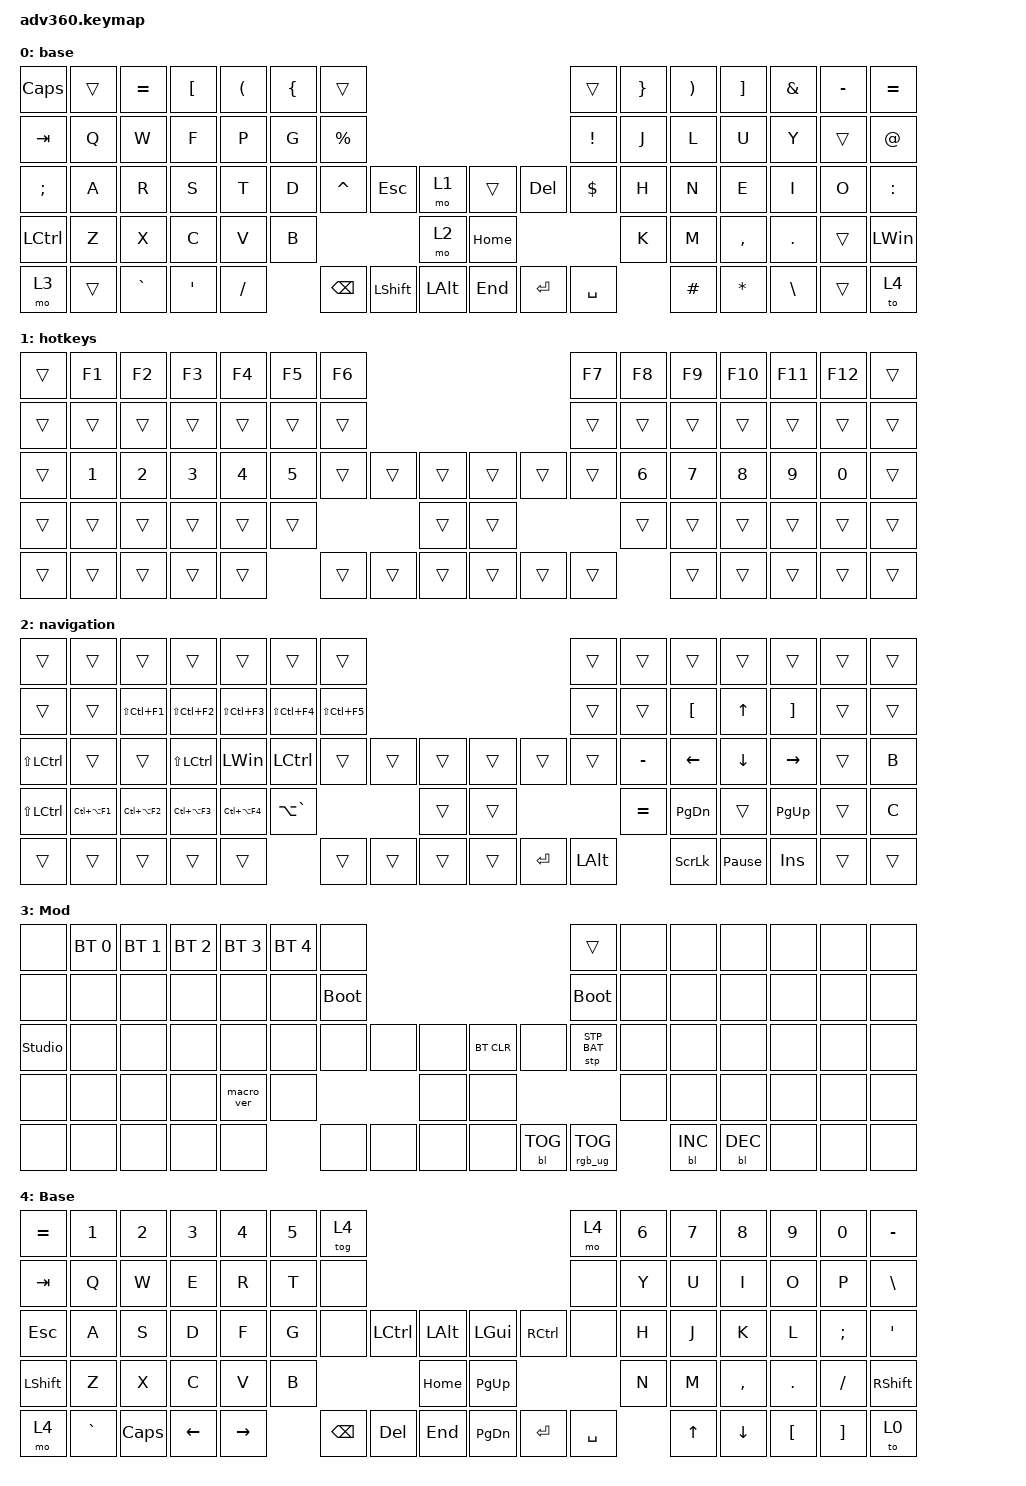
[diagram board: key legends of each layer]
#include <dt-bindings/zmk/stp.h>
#include <behaviors.dtsi>
#include <dt-bindings/zmk/backlight.h>
#include <dt-bindings/zmk/bt.h>
#include <dt-bindings/zmk/keys.h>
#include <dt-bindings/zmk/rgb.h>

/ {
    behaviors {
        #include "macros.dtsi"
      #include "version.dtsi"

        hm: homerow_mods {
            compatible = "zmk,behavior-hold-tap";
            label = "HOMEROW_MODS";
            #binding-cells = <2>;
            tapping-term-ms = <200>;
            quick_tap_ms = <175>;
            flavor = "tap-preferred";
            bindings = <&kp>, <&kp>;
        };
    };

    keymap {
        compatible = "zmk,keymap";

        base {
            bindings = <
&kp CAPSLOCK      &trans  &kp EQUAL  &kp LEFT_BRACKET  &kp LEFT_PARENTHESIS  &kp LEFT_BRACE  &trans                                                                 &trans      &kp RIGHT_BRACE  &kp RIGHT_PARENTHESIS  &kp RIGHT_BRACKET  &kp AMPERSAND  &kp MINUS  &kp EQUAL
&kp TAB           &kp Q   &kp W      &kp F             &kp P                 &kp G           &kp PERCENT                                                            &kp EXCL    &kp J            &kp L                  &kp U              &kp Y          &trans     &kp AT
&kp SEMI          &kp A   &kp R      &kp S             &kp T                 &kp D           &kp CARET      &kp ESC         &mo 1             &trans    &kp DELETE  &kp DOLLAR  &kp H            &kp N                  &kp E              &kp I          &kp O      &kp COLON
&kp LEFT_CONTROL  &kp Z   &kp X      &kp C             &kp V                 &kp B                                          &mo 2             &kp HOME                          &kp K            &kp M                  &kp COMMA          &kp DOT        &trans     &kp LEFT_WIN
&mo 3             &trans  &kp GRAVE  &kp SINGLE_QUOTE  &kp SLASH                             &kp BACKSPACE  &kp LEFT_SHIFT  &kp LEFT_ALT      &kp END   &kp ENTER   &kp SPACE                    &kp HASH               &kp STAR           &kp BACKSLASH  &trans     &to 4
            >;
        };

        hotkeys {
            bindings = <
&trans  &kp F1  &kp F2  &kp F3  &kp F4  &kp F5  &kp F6                                      &kp F7  &kp F8  &kp F9  &kp F10  &kp F11  &kp F12  &trans
&trans  &trans  &trans  &trans  &trans  &trans  &trans                                      &trans  &trans  &trans  &trans   &trans   &trans   &trans
&trans  &kp N1  &kp N2  &kp N3  &kp N4  &kp N5  &trans  &trans  &trans      &trans  &trans  &trans  &kp N6  &kp N7  &kp N8   &kp N9   &kp N0   &trans
&trans  &trans  &trans  &trans  &trans  &trans                  &trans      &trans                  &trans  &trans  &trans   &trans   &trans   &trans
&trans  &trans  &trans  &trans  &trans          &trans  &trans  &trans      &trans  &trans  &trans          &trans  &trans   &trans   &trans   &trans
            >;
        };

        navigation {
            bindings = <
&trans                &trans          &trans          &trans                &trans          &trans            &trans                                                 &trans        &trans     &trans            &trans           &trans             &trans  &trans
&trans                &trans          &kp LS(LC(F1))  &kp LS(LC(F2))        &kp LS(LC(F3))  &kp LS(LC(F4))    &kp LS(LC(F5))                                         &trans        &trans     &kp LEFT_BRACKET  &kp UP           &kp RIGHT_BRACKET  &trans  &trans
&kp LS(LEFT_CONTROL)  &trans          &trans          &kp LS(LEFT_CONTROL)  &kp LEFT_WIN    &kp LEFT_CONTROL  &trans          &trans  &trans      &trans  &trans     &trans        &kp MINUS  &kp LEFT          &kp DOWN         &kp RIGHT          &trans  &kp B
&kp LS(LEFT_CONTROL)  &kp LC(LA(F1))  &kp LC(LA(F2))  &kp LC(LA(F3))        &kp LC(LA(F4))  &kp LA(GRAVE)                             &trans      &trans                           &kp EQUAL  &kp PAGE_DOWN     &trans           &kp PG_UP          &trans  &kp C
&trans                &trans          &trans          &trans                &trans                            &trans          &trans  &trans      &trans  &kp ENTER  &kp LEFT_ALT             &kp SCROLLLOCK    &kp PAUSE_BREAK  &kp INS            &trans  &trans
            >;
        };

        kinesis {
            display-name = "Mod";
            bindings = <
&none           &bt BT_SEL 0  &bt BT_SEL 1  &bt BT_SEL 2  &bt BT_SEL 3  &bt BT_SEL 4  &none                                                  &trans           &none  &none       &none       &none  &none  &none
&none           &none         &none         &none         &none         &none         &bootloader                                            &bootloader      &none  &none       &none       &none  &none  &none
&studio_unlock  &none         &none         &none         &none         &none         &none        &none  &none      &bt BT_CLR  &none       &stp STP_BAT     &none  &none       &none       &none  &none  &none
&none           &none         &none         &none         &macro_ver    &none                             &none      &none                                    &none  &none       &none       &none  &none  &none
&none           &none         &none         &none         &none                       &none        &none  &none      &none       &bl BL_TOG  &rgb_ug RGB_TOG         &bl BL_INC  &bl BL_DEC  &none  &none  &none
            >;
        };

        qwertyinneed {
            display-name = "Base";
            bindings = <
&kp EQUAL  &kp N1     &kp N2    &kp N3    &kp N4     &kp N5  &tog 4                                                   &mo 4      &kp N6  &kp N7  &kp N8     &kp N9    &kp N0    &kp MINUS
&kp TAB    &kp Q      &kp W     &kp E     &kp R      &kp T   &none                                                    &none      &kp Y   &kp U   &kp I      &kp O     &kp P     &kp BSLH
&kp ESC    &kp A      &kp S     &kp D     &kp F      &kp G   &none     &kp LCTRL  &kp LALT      &kp LGUI   &kp RCTRL  &none      &kp H   &kp J   &kp K      &kp L     &kp SEMI  &kp SQT
&kp LSHFT  &kp Z      &kp X     &kp C     &kp V      &kp B                        &kp HOME      &kp PG_UP                        &kp N   &kp M   &kp COMMA  &kp DOT   &kp FSLH  &kp RSHFT
&mo 4      &kp GRAVE  &kp CAPS  &kp LEFT  &kp RIGHT          &kp BSPC  &kp DEL    &kp END       &kp PG_DN  &kp ENTER  &kp SPACE          &kp UP  &kp DOWN   &kp LBKT  &kp RBKT  &to 0
            >;
        };
    };
};
